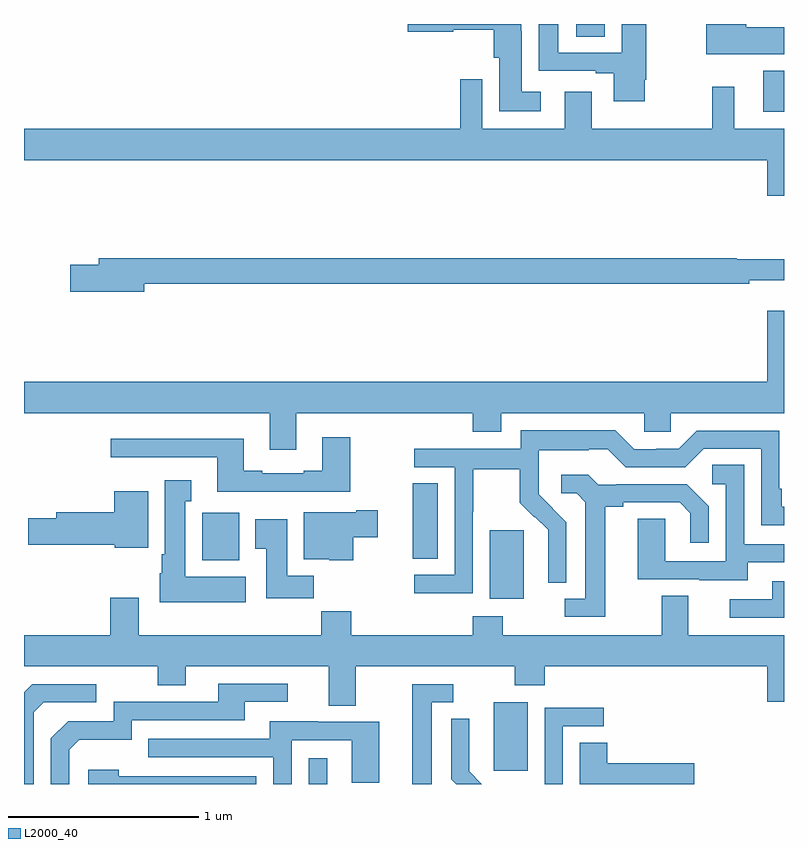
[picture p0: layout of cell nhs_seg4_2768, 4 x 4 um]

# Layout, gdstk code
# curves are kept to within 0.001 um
import gdstk
lib = gdstk.Library(unit=1e-6, precision=1e-09)
def R(c, l, rs):  # rectangles x0, y0, x1, y1
    for r in rs: c.add(gdstk.rectangle(r[:2], r[2:], *l))
def P(c, l, *ps):  # polygons
    for p in ps: c.add(gdstk.Polygon(p, *l))
L2000_40 = (2000, 40)

nhs_seg4_2768 = lib.new_cell('nhs_seg4_2768')
R(nhs_seg4_2768, L2000_40, [(258.498,762.9,258.595,763.036), (259.472,762.969,259.651,763.33), (259.451,763.874,259.63,764.235), (257.937,764.078,258.133,764.328), (259.046,764.086,259.177,764.483), (260.891,766.437,261,766.653), (259.907,766.834,260.056,766.9)])
P(nhs_seg4_2768, L2000_40, [(260.266,766.606),(260.274,766.606),(260.274,766.9),(260.147,766.9),(260.147,766.749),(259.813,766.749),(259.813,766.9),(259.709,766.9),(259.709,766.653),(260.009,766.653),(260.009,766.641),(260.105,766.641),(260.105,766.494),(260.266,766.494)],
  [(261,766.882),(260.802,766.882),(260.802,766.9),(260.592,766.9),(260.592,766.742),(261,766.742)],
  [(259.72,766.543),(259.621,766.543),(259.621,766.862),(259.617,766.862),(259.617,766.9),(259.02,766.9),(259.02,766.859),(259.26,766.859),(259.26,766.871),(259.472,766.871),(259.472,766.722),(259.502,766.722),(259.502,766.442),(259.72,766.442)],
  [(261,766.348),(260.737,766.348),(260.737,766.57),(260.623,766.57),(260.623,766.348),(259.987,766.348),(259.987,766.543),(259.847,766.543),(259.847,766.348),(259.413,766.348),(259.413,766.609),(259.297,766.609),(259.297,766.348),(257,766.348),(257,766.184),(260.912,766.184),(260.912,765.996),(261,765.996)],
  [(257.632,765.532),(260.816,765.532),(260.816,765.551),(261,765.551),(261,765.661),(260.75,765.661),(260.75,765.668),(257.393,765.668),(257.393,765.632),(257.244,765.632),(257.244,765.49),(257.632,765.49)],
  [(258.433,764.852),(259.361,764.852),(259.361,764.753),(259.513,764.753),(259.513,764.852),(260.265,764.852),(260.265,764.754),(260.403,764.754),(260.403,764.852),(261,764.852),(261,765.391),(260.912,765.391),(260.912,765.016),(257,765.016),(257,764.852),(258.293,764.852),(258.293,764.658),(258.433,764.658)],
  [(259.362,764.332),(259.365,764.332),(259.365,764.556),(259.609,764.556),(259.609,764.381),(259.686,764.304),(259.689,764.307),(259.76,764.237),(259.76,764.114),(259.758,764.114),(259.758,763.96),(259.854,763.96),(259.854,764.278),(259.708,764.426),(259.708,764.523),(259.71,764.523),(259.71,764.657),(259.973,764.657),(259.973,764.661),(260.073,764.661),(260.166,764.568),(260.481,764.568),(260.577,764.664),(260.88,764.664),(260.88,764.262),(261,764.262),(261,764.358),(260.989,764.358),(260.989,764.455),(260.976,764.455),(260.976,764.76),(260.541,764.76),(260.445,764.664),(260.327,764.664),(260.327,764.661),(260.211,764.661),(260.111,764.761),(259.614,764.761),(259.614,764.664),(259.053,764.664),(259.053,764.568),(259.266,764.568),(259.266,764.001),(259.053,764.001),(259.053,763.903),(259.362,763.903)],
  [(258.377,764.439),(258.717,764.439),(258.717,764.725),(258.569,764.725),(258.569,764.548),(258.473,764.548),(258.473,764.535),(258.253,764.535),(258.253,764.548),(258.157,764.548),(258.157,764.716),(257.457,764.716),(257.457,764.619),(258.017,764.619),(258.017,764.438),(258.377,764.438)],
  [(260.809,764.067),(261,764.067),(261,764.163),(260.79,764.163),(260.79,764.579),(260.622,764.579),(260.622,764.478),(260.694,764.478),(260.694,764.073),(260.376,764.073),(260.376,764.297),(260.231,764.297),(260.231,763.977),(260.555,763.977),(260.555,763.973),(260.809,763.973)],
  [(260.059,764.36),(260.155,764.36),(260.155,764.382),(260.45,764.382),(260.507,764.325),(260.507,764.169),(260.604,764.169),(260.604,764.362),(260.488,764.478),(260.116,764.478),(260.116,764.475),(260.022,764.475),(259.97,764.527),(259.827,764.527),(259.827,764.43),(259.908,764.43),(259.955,764.383),(259.955,763.875),(259.845,763.875),(259.845,763.779),(260.059,763.779)],
  [(258.166,763.99),(257.848,763.99),(257.848,764.387),(257.881,764.387),(257.881,764.5),(257.741,764.5),(257.741,764.11),(257.726,764.11),(257.726,764.01),(257.714,764.01),(257.714,763.856),(258.166,763.856)],
  [(257.653,764.44),(257.474,764.44),(257.474,764.33),(257.171,764.33),(257.171,764.3),(257.022,764.3),(257.022,764.158),(257.478,764.158),(257.478,764.144),(257.653,764.144)],
  [(258.732,764.2),(258.862,764.2),(258.862,764.342),(258.749,764.342),(258.749,764.329),(258.473,764.329),(258.473,764.084),(258.606,764.084),(258.606,764.078),(258.732,764.078)],
  [(258.524,763.996),(258.385,763.996),(258.385,764.293),(258.218,764.293),(258.218,764.137),(258.275,764.137),(258.275,763.878),(258.524,763.878)],
  [(261,763.968),(260.939,763.968),(260.939,763.872),(260.715,763.872),(260.715,763.776),(261,763.776)],
  [(258.745,763.52),(259.582,763.52),(259.582,763.421),(259.742,763.421),(259.742,763.52),(260.912,763.52),(260.912,763.332),(261,763.332),(261,763.684),(260.497,763.684),(260.497,763.892),(260.357,763.892),(260.357,763.684),(259.521,763.684),(259.521,763.783),(259.361,763.783),(259.361,763.684),(258.722,763.684),(258.722,763.808),(258.565,763.808),(258.565,763.684),(257.605,763.684),(257.605,763.879),(257.453,763.879),(257.453,763.684),(257,763.684),(257,763.52),(257.704,763.52),(257.704,763.421),(257.851,763.421),(257.851,763.52),(258.605,763.52),(258.605,763.312),(258.745,763.312)],
  [(257.238,763.08),(257.291,763.133),(257.568,763.133),(257.568,763.236),(258.163,763.236),(258.163,763.332),(258.388,763.332),(258.388,763.428),(258.023,763.428),(258.023,763.332),(257.472,763.332),(257.472,763.23),(257.232,763.23),(257.142,763.14),(257.142,762.9),(257.238,762.9)],
  [(257.052,763.278),(257.103,763.329),(257.38,763.329),(257.38,763.425),(257.043,763.425),(257,763.382),(257,762.9),(257.052,762.9)],
  [(259.147,763.329),(259.258,763.329),(259.258,763.425),(259.043,763.425),(259.043,762.9),(259.147,762.9)],
  [(259.836,763.203),(260.05,763.203),(260.05,763.302),(259.74,763.302),(259.74,762.9),(259.836,762.9)],
  [(259.343,762.968),(259.343,763.09),(259.344,763.09),(259.344,763.244),(259.248,763.244),(259.248,762.926),(259.274,762.9),(259.41,762.9)],
  [(258.408,763.131),(258.726,763.131),(258.726,762.907),(258.871,762.907),(258.871,763.227),(258.547,763.227),(258.547,763.231),(258.293,763.231),(258.293,763.137),(257.653,763.137),(257.653,763.041),(258.312,763.041),(258.312,762.9),(258.408,762.9)],
  [(260.527,763.01),(260.069,763.01),(260.069,763.118),(259.925,763.118),(259.925,762.9),(260.527,762.9)],
  [(258.222,762.942),(257.498,762.942),(257.498,762.976),(257.337,762.976),(257.337,762.9),(258.222,762.9)])

lib.write_gds('nhs_seg4_2768.gds')
